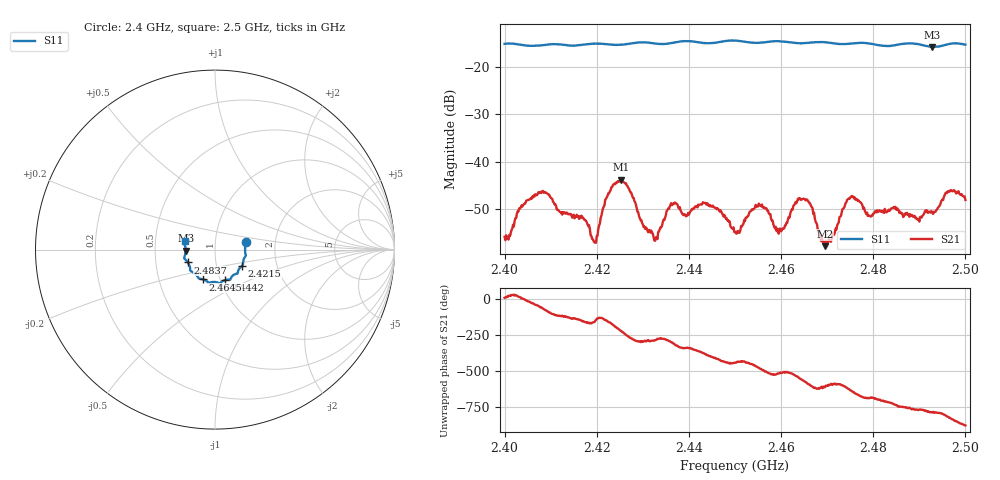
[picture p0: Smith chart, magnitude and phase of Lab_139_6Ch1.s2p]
# Hz S RI R 50
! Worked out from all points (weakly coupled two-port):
!   601 points, 2.4 GHz to 2.5 GHz, reference 50 ohm
!   highest |S21| = -43.83 dB at 2.4253 GHz (marker M1); lowest = -57.9 dB at 2.4695 GHz (marker M2)
!   lowest |S11| = -15.7 dB at 2.4928 GHz (marker M3), VSWR 1.39, Z = 35.9 - j0.383 ohm
!   |S11| at or under -10 dB: start of sweep to end of sweep
!   S12 and S22 are empty: the file has one direction only
!   S11 on the Smith chart (normalised r, x): 2.4 GHz: 1.41, +0.12; 2.4215 GHz: 1.33, -0.25; 2.4442 GHz: 1.05, -0.37; 2.4645 GHz: 0.83, -0.29; 2.4837 GHz: 0.73, -0.11; 2.5 GHz: 0.71, +0.07
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2.4e9  0.1715 0.0403  0.00158 0.000242  0 0  0 0
2.407833e9  0.1682 -0.0192  0.00244 -0.00409  0 0  0 0
2.416667e9  0.1569 -0.0698  -0.00233 -0.0013  0 0  0 0
2.4195e9  0.1549 -0.0853  -0.0013 -0.000477  0 0  0 0
2.4215e9  0.1511 -0.0897  -0.00257 -0.00213  0 0  0 0
2.425333e9  0.1327 -0.1096  -0.00473 0.00436  0 0  0 0
2.430667e9  0.1243 -0.1334  0.000863 0.0018  0 0  0 0
2.433333e9  0.1084 -0.1384  0.000246 0.00178  0 0  0 0
2.4365e9  0.09 -0.1563  0.00217 0.00276  0 0  0 0
2.444167e9  0.0565 -0.1694  0.00287 -0.0019  0 0  0 0
2.45e9  0.025 -0.1892  0.000186 -0.00179  0 0  0 0
2.455333e9  -0.011 -0.1804  -0.00184 -0.00291  0 0  0 0
2.459833e9  -0.0354 -0.1841  -0.00173 -0.000911  0 0  0 0
2.4645e9  -0.0658 -0.1661  -0.0037 0.0014  0 0  0 0
2.466667e9  -0.0827 -0.1622  -0.00123 0.00305  0 0  0 0
2.4695e9  -0.0928 -0.1579  -0.000355 0.00122  0 0  0 0
2.475e9  -0.1231 -0.1265  0.000368 0.00416  0 0  0 0
2.483333e9  -0.149 -0.0749  0.00308 4.56e-05  0 0  0 0
2.483667e9  -0.1509 -0.0716  0.00304 -7.15e-05  0 0  0 0
2.492833e9  -0.1635 -0.00518  0.000969 -0.00276  0 0  0 0
2.4965e9  -0.1724 0.0328  -0.0014 -0.00468  0 0  0 0
2.5e9  -0.165 0.0505  -0.00369 -0.00132  0 0  0 0
